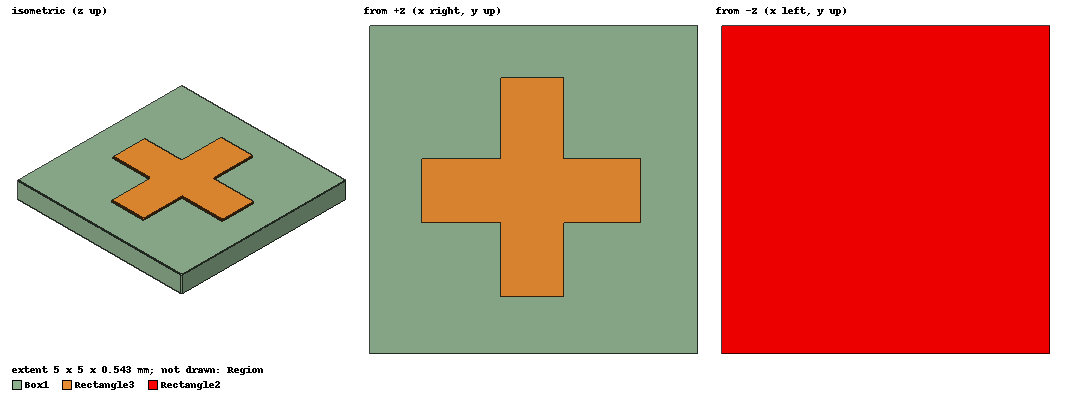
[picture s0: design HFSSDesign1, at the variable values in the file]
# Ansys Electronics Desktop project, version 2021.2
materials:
  vacuum: permittivity=1
  Rogers RT/duroid 5880 (tm): permittivity=2.2 dielectric_loss_tangent=0.0009
  pec: conductivity=1e+30
  copper: permeability=0.999991 conductivity=58000000

design HFSSDesign1 (HFSS, DrivenModal, model units mm)
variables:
  Xsize = 5mm
  Ysize = 5mm
  H = 0.508mm
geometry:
  Region [vacuum] = region(absolute_offset: +X=0mm, -X=0mm, +Y=0mm, -Y=0mm, +Z=10mm, -Z=10mm)
  Rectangle2 = rectangle(corner=(0mm, 0mm, 0mm), x_size=Xsize, y_size=-Ysize)
  Box1 [Rogers RT/duroid 5880 (tm)] = box(corner=(0mm, 0mm, 0mm), size=(XSize, -YSize, H))
  Rectangle3 [copper] = rectangle(corner=(2.959234375mm, -4.130859375mm, 0.508mm), x_size=-0.95923437mm, y_size=3.330859375mm)
  Rectangle4 = rectangle(corner=(4.131109375mm, -2.03125mm, 0.508mm), x_size=-3.331109375mm, y_size=-0.96875mm)
  Rectangle3.unite(Rectangle4)
  Rectangle3.thicken(-0.035mm)
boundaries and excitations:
  Primary1: Primary Faces=Region.face(+x) CoordSysVector{Region.vertex(1 of 8) -> Region.vertex(2 of 8)}
  Primary2: Primary Faces=Region.face(+y) CoordSysVector{Region.vertex(2 of 8) -> Region.vertex(3 of 8)}
  Secondary1: Secondary Faces=Region.face(-y) CoordSysVector{Region.vertex(1 of 8) -> Region.vertex(4 of 8)} ReverseV primary=Primary2 PhaseDelay=UseScanAngle Phi=0deg Theta=0deg
  Secondary2: Secondary Faces=Region.face(-x) CoordSysVector{Region.vertex(4 of 8) -> Region.vertex(3 of 8)} ReverseV primary=Primary1 PhaseDelay=UseScanAngle Phi=0deg Theta=0deg
  PerfE1: Perfect E Objects=Rectangle2
  FloquetPort1: Floquet Port Faces=Region.face(+z) NumModes=2 DeembedDist=10mm Modes{Mode1{CharImp=Zpi} Mode2{CharImp=Zpi}} PhaseDelay=UseScanAngle Phi=0deg Theta=0deg LatticeAVector{Region.vertex(1 of 8) -> Region.vertex(2 of 8)} LatticeBVector{Region.vertex(1 of 8) -> Region.vertex(4 of 8)} ModesList{Mode{ModeNumber=1 IndexM=0 IndexN=0 KC2=0 PropagationState=Propagating Attenuation=0 PolarizationState=TE AffectsRefinement} Mode{ModeNumber=2 IndexM=0 IndexN=0 KC2=0 PropagationState=Propagating Attenuation=0 PolarizationState=TM AffectsRefinement}}
  FloquetPort2: Floquet Port Faces=Region.face(-z) NumModes=2 DeembedDist=10mm Modes{Mode1{CharImp=Zpi} Mode2{CharImp=Zpi}} PhaseDelay=UseScanAngle Phi=0deg Theta=0deg LatticeAVector{Region.vertex(6 of 8) -> Region.vertex(5 of 8)} LatticeBVector{Region.vertex(6 of 8) -> Region.vertex(7 of 8)} ModesList{Mode{ModeNumber=1 IndexM=0 IndexN=0 KC2=0 PropagationState=Propagating Attenuation=0 PolarizationState=TE AffectsRefinement} Mode{ModeNumber=2 IndexM=0 IndexN=0 KC2=0 PropagationState=Propagating Attenuation=0 PolarizationState=TM AffectsRefinement}}
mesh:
  initial mesh: GlobalSurfApproximation{CurvedSurfaceApproxChoice=UseSlider SliderMeshSettings=7} DynamicSurfaceResolution
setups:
  Setup1: HfssDriven Frequency=60GHz MaxDeltaS=0.02 MaximumPasses=10 MinimumPasses=1 MinimumConvergedPasses=1 PercentRefinement=30 BasisOrder=1 PortAccuracy=2
    sweep Sweep: 30GHz to 90GHz step 0.01GHz; Type=Interpolating InterpTolerance=0.5 InterpMaxSolns=250 InterpUsePortImped=false PassivityErrorTolerance=0.0001
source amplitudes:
  FloquetPort1:1: 1W 0deg
  FloquetPort1:2, FloquetPort2:1, FloquetPort2:2: 0W 0deg
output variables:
  transmittance = (mag(S(FloquetPort2:1,FloquetPort1:1)))^2
  transmittanceTM = (mag(S(FloquetPort2:2,FloquetPort1:2)))^2
  ReflectanceTE = (mag(S(FloquetPort1:1,FloquetPort1:1)))^2
  ReflectanceTM = (mag(S(FloquetPort1:2,FloquetPort1:2)))^2
  AbsorbanceTE = 1-((mag(S(FloquetPort1:1,FloquetPort1:1)))^2 +(mag(S(FloquetPort2:1,FloquetPort1:1)))^2)
  AbsorbanceTM = 1-((mag(S(FloquetPort1:2,FloquetPort1:2)))^2 +(mag(S(FloquetPort2:2,FloquetPort1:2)))^2)
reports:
  Transmittance: transmittance, transmittanceTM vs Freq on Setup1 : Sweep
  TE: dB(S(FloquetPort1:1,FloquetPort1:1)), dB(S(FloquetPort2:1,FloquetPort1:1)) vs Freq on Setup1 : Sweep
  TM: dB(S(FloquetPort1:2,FloquetPort1:2)), dB(S(FloquetPort2:2,FloquetPort1:2)) vs Freq on Setup1 : Sweep
  Reflectance: ReflectanceTE, ReflectanceTM vs Freq on Setup1 : Sweep
  Absorption: AbsorbanceTM vs Freq on Setup1 : Sweep
